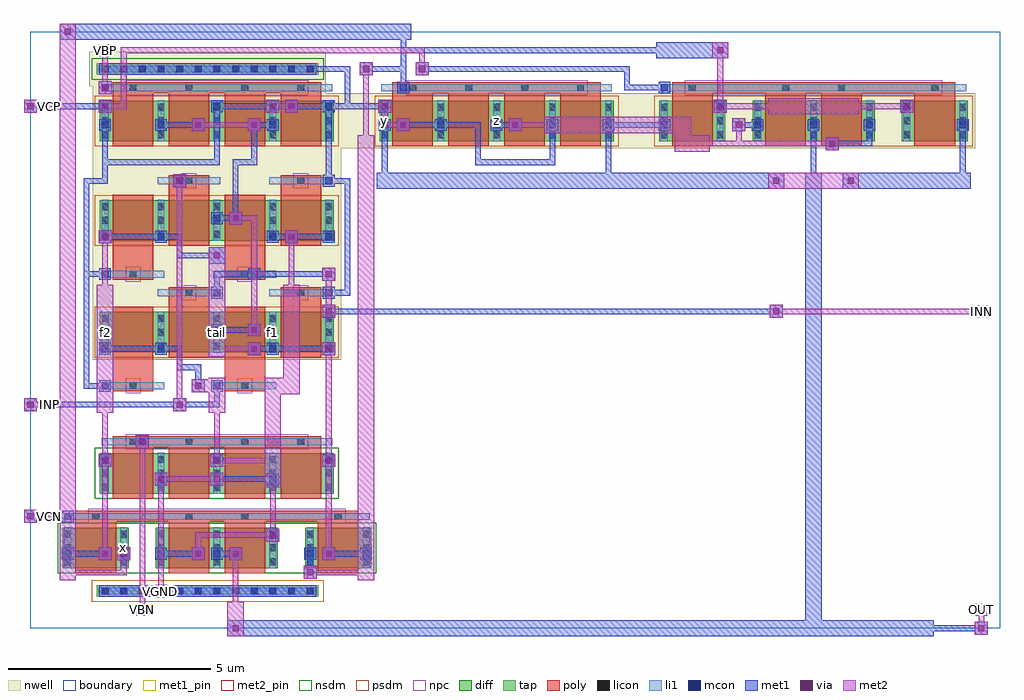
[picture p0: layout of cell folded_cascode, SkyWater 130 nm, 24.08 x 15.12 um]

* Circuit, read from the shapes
.subckt folded_cascode INN INP OUT VBN VBP VCN VCP VGND VPWR f1 f2 tail x y z
XM1 x VCN f1 VGND sky130_fd_pr__nfet_01v8 w=1 l=1 m=2
XM2 VGND VBN f1 VGND sky130_fd_pr__nfet_01v8 w=1 l=1 m=2
XM3 OUT VCN f2 VGND sky130_fd_pr__nfet_01v8 w=1 l=1 m=2
XM4 f2 VBN VGND VGND sky130_fd_pr__nfet_01v8 w=1 l=1 m=2
XM5 f2 VPWR f2 VPWR sky130_fd_pr__pfet_01v8 w=1 l=1 m=2
XM6 f1 VPWR f1 VPWR sky130_fd_pr__pfet_01v8 w=1 l=1 m=2
XM7 tail VBP VPWR VPWR sky130_fd_pr__pfet_01v8 w=1 l=1 m=4
XM8 tail INN f2 VPWR sky130_fd_pr__pfet_01v8 w=1 l=1 m=2
XM9 tail INP f1 VPWR sky130_fd_pr__pfet_01v8 w=1 l=1 m=2
XM10 VPWR x y VPWR sky130_fd_pr__pfet_01v8 w=1 l=1 m=2
XM11 z x VPWR VPWR sky130_fd_pr__pfet_01v8 w=1 l=1 m=2
XM12 x VCP y VPWR sky130_fd_pr__pfet_01v8 w=1 l=1 m=2
XM13 OUT VCP z VPWR sky130_fd_pr__pfet_01v8 w=1 l=1 m=2
.ends

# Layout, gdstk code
import gdstk
lib = gdstk.Library(unit=1e-6, precision=1e-09)
def R(c, l, rs):  # rectangles x0, y0, x1, y1
    for r in rs: c.add(gdstk.rectangle(r[:2], r[2:], *l))
def A(c, l, x, y, w, h, nx, ny, dx, dy):  # array of equal rectangles
    R(c, l, [(x+i*dx, y+j*dy, x+i*dx+w, y+j*dy+h) for i in range(nx) for j in range(ny)])
nwell = (64, 20)
diff = (65, 20)
tap = (65, 44)
poly = (66, 20)
licon = (66, 44)
li1 = (67, 20)
mcon = (67, 44)
met1_pin = (68, 16)
met1 = (68, 20)
via = (68, 44)
met2_pin = (69, 16)
met2 = (69, 20)
nsdm = (93, 44)
psdm = (94, 20)
npc = (95, 20)
boundary = (235, 4)

folded_cascode = lib.new_cell('folded_cascode')
R(folded_cascode, nwell, [(1.535,6.625,7.665,11.84), (1.535,11.84,23.305,13.2), (1.535,13.2,7.285,13.38), (1.455,13.38,7.285,14.22)])
R(folded_cascode, diff, [(0.795,1.485,2.425,2.485), (3.095,1.485,6.105,2.485), (6.775,1.485,8.405,2.485), (1.715,3.325,7.485,4.325), (1.715,6.805,7.485,7.805), (1.715,9.565,7.485,10.565), (1.715,12.02,7.485,13.02), (8.615,12.02,14.385,13.02), (15.515,12.02,17.145,13.02), (17.815,12.02,20.825,13.02), (21.495,12.02,23.125,13.02)])
R(folded_cascode, tap, [(1.635,0.775,7.105,1.065), (1.635,13.655,7.105,13.945)])
A(folded_cascode, poly, 2.03, 3.195, 1, 1.405, 4, 1, 1.38, 0)
A(folded_cascode, poly, 2.03, 11.89, 1, 1.45, 4, 1, 1.38, 0)
A(folded_cascode, poly, 8.93, 11.89, 1, 1.45, 4, 1, 1.38, 0)
R(folded_cascode, poly, [(1.11,1.355,2.11,2.76), (3.41,1.355,4.41,2.76), (4.79,1.355,5.79,2.76), (7.09,1.355,8.09,2.76), (1.11,2.625,8.09,2.895), (2.03,4.465,7.17,4.735), (2.03,5.845,3.03,6.115), (4.79,5.845,5.79,6.115), (2.03,5.98,3.03,7.935), (4.79,5.98,5.79,7.935), (3.41,6.675,4.41,8.28), (6.17,6.675,7.17,8.28), (3.41,8.145,4.41,8.415), (6.17,8.145,7.17,8.415), (2.03,8.605,3.03,8.875), (4.79,8.605,5.79,8.875), (2.03,8.74,3.03,10.695), (4.79,8.74,5.79,10.695), (3.41,9.435,4.41,11.04), (6.17,9.435,7.17,11.04), (3.41,10.905,4.41,11.175), (6.17,10.905,7.17,11.175), (15.83,11.89,16.83,13.34), (18.13,11.89,19.13,13.34), (19.51,11.89,20.51,13.34), (21.81,11.89,22.81,13.34), (2.03,13.205,7.17,13.475), (8.93,13.205,14.07,13.475), (15.83,13.205,22.81,13.475)])
A(folded_cascode, licon, 1.755, 0.835, 0.17, 0.17, 12, 2, 0.46, 12.88)
A(folded_cascode, licon, 0.835, 1.56, 0.17, 0.17, 1, 3, 0, 0.34)
A(folded_cascode, licon, 2.215, 1.56, 0.17, 0.17, 1, 3, 0, 0.34)
A(folded_cascode, licon, 3.135, 1.56, 0.17, 0.17, 3, 3, 1.38, 0.34)
A(folded_cascode, licon, 6.815, 1.56, 0.17, 0.17, 1, 3, 0, 0.34)
A(folded_cascode, licon, 8.195, 1.56, 0.17, 0.17, 1, 3, 0, 0.34)
A(folded_cascode, licon, 1.755, 3.4, 0.17, 0.17, 5, 3, 1.38, 0.34)
A(folded_cascode, licon, 2.445, 4.515, 0.17, 0.17, 4, 2, 1.38, 8.74)
A(folded_cascode, licon, 1.755, 6.88, 0.17, 0.17, 5, 3, 1.38, 0.34)
A(folded_cascode, licon, 1.755, 9.64, 0.17, 0.17, 5, 3, 1.38, 0.34)
A(folded_cascode, licon, 1.755, 12.095, 0.17, 0.17, 12, 3, 1.38, 0.34)
A(folded_cascode, licon, 17.855, 12.095, 0.17, 0.17, 3, 3, 1.38, 0.34)
A(folded_cascode, licon, 21.535, 12.095, 0.17, 0.17, 1, 3, 0, 0.34)
A(folded_cascode, licon, 22.915, 12.095, 0.17, 0.17, 1, 3, 0, 0.34)
A(folded_cascode, licon, 9.345, 13.255, 0.17, 0.17, 4, 1, 1.38, 0)
R(folded_cascode, licon, [(1.525,2.675,1.695,2.845), (3.825,2.675,3.995,2.845), (5.205,2.675,5.375,2.845), (7.505,2.675,7.675,2.845), (2.445,5.895,2.615,6.065), (5.205,5.895,5.375,6.065), (3.825,8.195,3.995,8.365), (6.585,8.195,6.755,8.365), (2.445,8.655,2.615,8.825), (5.205,8.655,5.375,8.825), (3.825,10.955,3.995,11.125), (6.585,10.955,6.755,11.125), (16.245,13.255,16.415,13.425), (18.545,13.255,18.715,13.425), (19.925,13.255,20.095,13.425), (22.225,13.255,22.395,13.425)])
A(folded_cascode, li1, 3.135, 1.48, 0.17, 1.01, 3, 1, 1.38, 0)
A(folded_cascode, li1, 1.755, 3.32, 0.17, 1.01, 5, 2, 1.38, 3.48)
A(folded_cascode, li1, 1.755, 9.56, 0.17, 1.01, 5, 1, 1.38, 0)
A(folded_cascode, li1, 1.755, 12.015, 0.17, 1.01, 12, 1, 1.38, 0)
A(folded_cascode, li1, 17.855, 12.015, 0.17, 1.01, 3, 1, 1.38, 0)
R(folded_cascode, li1, [(1.675,0.835,7.065,1.005), (0.835,1.48,1.005,2.49), (2.215,1.48,2.385,2.49), (6.815,1.48,6.985,2.49), (8.195,1.48,8.365,2.49), (0.835,2.675,8.365,2.845), (1.755,4.515,7.445,4.685), (1.755,5.895,3.305,6.065), (4.515,5.895,6.065,6.065), (3.135,8.195,4.685,8.365), (5.895,8.195,7.445,8.365), (1.755,8.655,3.305,8.825), (4.515,8.655,6.065,8.825), (3.135,10.955,4.685,11.125), (5.895,10.955,7.445,11.125), (21.535,12.015,21.705,13.025), (22.915,12.015,23.085,13.025), (1.755,13.255,7.445,13.425), (8.655,13.255,14.345,13.425), (15.555,13.255,23.085,13.425), (1.675,13.715,7.065,13.885)])
A(folded_cascode, mcon, 1.755, 0.835, 0.17, 0.17, 12, 2, 0.46, 12.88)
A(folded_cascode, mcon, 1.755, 4.055, 0.17, 0.17, 3, 1, 2.76, 0)
A(folded_cascode, mcon, 7.275, 6.815, 0.17, 0.17, 1, 4, 0, 1.38)
A(folded_cascode, mcon, 3.135, 12.335, 0.17, 0.17, 3, 1, 2.76, 0)
A(folded_cascode, mcon, 10.035, 12.335, 0.17, 0.17, 5, 1, 1.38, 0)
A(folded_cascode, mcon, 17.855, 12.335, 0.17, 0.17, 3, 1, 1.38, 0)
R(folded_cascode, mcon, [(0.835,1.755,1.005,1.925), (2.215,1.755,2.385,1.925), (3.135,1.755,3.305,1.925), (4.515,1.755,4.685,1.925), (6.815,1.755,6.985,1.925), (8.195,1.755,8.365,1.925), (5.895,2.215,6.065,2.385), (0.835,2.675,1.005,2.845), (3.135,3.595,3.305,3.765), (5.895,3.595,6.065,3.765), (2.675,4.515,2.845,4.685), (1.755,5.895,1.925,6.065), (4.515,5.895,4.685,6.065), (1.755,6.815,1.925,6.985), (3.135,6.815,3.305,6.985), (5.895,6.815,6.065,6.985), (4.515,7.275,4.685,7.445), (4.515,8.195,4.685,8.365), (1.755,8.655,1.925,8.825), (5.435,8.655,5.605,8.825), (1.755,9.575,1.925,9.745), (3.135,9.575,3.305,9.745), (5.895,9.575,6.065,9.745), (4.515,10.035,4.685,10.205), (3.595,10.955,3.765,11.125), (1.755,12.335,1.925,12.505), (22.915,12.335,23.085,12.505), (4.515,12.795,4.685,12.965), (7.275,12.795,7.445,12.965), (16.935,12.795,17.105,12.965), (21.535,12.795,21.705,12.965), (1.755,13.255,1.925,13.425), (9.115,13.255,9.285,13.425), (15.555,13.255,15.725,13.425)])
R(folded_cascode, met1_pin, [(3.15,0.85,3.29,0.99), (1.31,5.91,1.45,8.81)])
A(folded_cascode, met1, 1.68, 3.98, 0.32, 0.32, 3, 1, 2.76, 0)
A(folded_cascode, met1, 1.695, 3.995, 0.29, 0.29, 3, 1, 2.76, 0)
A(folded_cascode, met1, 7.2, 6.74, 0.32, 0.32, 1, 3, 0, 0.92)
A(folded_cascode, met1, 7.215, 6.755, 0.29, 0.29, 1, 4, 0, 1.38)
A(folded_cascode, met1, 3.075, 12.275, 0.29, 0.29, 3, 1, 2.76, 0)
A(folded_cascode, met1, 9.975, 12.275, 0.29, 0.29, 5, 1, 1.38, 0)
A(folded_cascode, met1, 17.795, 12.275, 0.29, 0.29, 3, 1, 1.38, 0)
A(folded_cascode, met1, 5.45, 12.35, 0.6, 0.14, 3, 1, 5.98, 0)
R(folded_cascode, met1, [(4.86,-0.2,22.28,0.2), (4.86,-0.2,5.26,0.2), (19.12,-0.2,19.52,11.24), (23.3,-0.16,23.62,0.16), (22.01,-0.07,23.53,0.07), (3.06,0.76,3.38,1.08), (1.695,0.775,7.045,1.065), (3.15,0.85,3.29,0.99), (6.74,1.22,7.06,1.54), (6.83,1.31,6.97,1.91), (1.68,1.68,2,2), (2.14,1.68,2.46,2), (3.98,1.68,4.3,2), (4.9,1.68,5.22,2), (7.2,1.68,7.52,2), (0.775,1.695,1.065,1.985), (2.155,1.695,2.445,1.985), (3.075,1.695,3.365,1.985), (4.455,1.695,4.745,1.985), (6.755,1.695,7.045,1.985), (8.135,1.695,8.425,1.985), (0.85,1.77,1.91,1.91), (3.15,1.77,4.21,1.91), (4.53,1.77,5.13,1.91), (7.29,1.77,8.35,1.91), (5.82,2.14,6.14,2.46), (5.835,2.155,6.125,2.445), (-0.16,2.6,0.16,2.92), (0.775,2.615,1.065,2.905), (-0.07,2.69,0.99,2.83), (3.06,3.52,3.38,3.84), (4.44,3.52,4.76,3.84), (3.075,3.535,3.365,3.825), (5.835,3.535,6.125,3.825), (4.53,3.61,6.05,3.75), (2.6,4.44,2.92,4.76), (2.615,4.455,2.905,4.745), (-0.16,5.36,0.16,5.68), (3.52,5.36,3.84,5.68), (-0.07,5.45,4.67,5.59), (4.53,5.45,4.67,6.05), (3.98,5.82,4.3,6.14), (1.695,5.835,1.985,6.125), (4.455,5.835,4.745,6.125), (1.31,5.91,1.91,6.05), (1.31,5.91,1.45,8.81), (4.07,5.91,4.21,6.51), (3.61,6.37,4.21,6.51), (3.61,6.37,3.75,6.97), (5.36,6.74,5.68,7.06), (1.695,6.755,1.985,7.045), (3.075,6.755,3.365,7.045), (5.835,6.755,6.125,7.045), (1.77,6.83,3.29,6.97), (3.15,6.83,3.75,6.97), (5.45,6.83,6.05,6.97), (5.91,6.83,7.43,6.97), (5.36,7.2,5.68,7.52), (4.455,7.215,4.745,7.505), (4.53,7.29,5.59,7.43), (18.24,7.66,18.56,7.98), (7.29,7.75,18.47,7.89), (4.455,8.135,4.745,8.425), (4.53,8.21,4.67,8.81), (7.29,8.21,7.89,8.35), (7.75,8.21,7.89,11.11), (1.695,8.595,1.985,8.885), (5.375,8.595,5.665,8.885), (1.31,8.67,1.91,8.81), (1.31,8.67,1.45,11.11), (4.53,8.67,5.59,8.81), (5.45,8.67,7.43,8.81), (4.4,9,4.8,9.4), (3.61,9.13,4.67,9.27), (3.61,9.13,3.75,9.73), (1.68,9.5,2,9.82), (6.28,9.5,6.6,9.82), (1.695,9.515,1.985,9.805), (3.075,9.515,3.365,9.805), (5.835,9.515,6.125,9.805), (1.77,9.59,3.29,9.73), (3.15,9.59,3.75,9.73), (5.91,9.59,6.51,9.73), (6.37,9.59,7.43,9.73), (4.9,9.96,5.22,10.28), (4.455,9.975,4.745,10.265), (4.53,10.05,5.13,10.19), (4.99,10.05,5.13,11.57), (8.54,10.84,14.46,11.24), (14.06,10.84,18.6,11.24), (18.2,10.84,18.6,11.24), (20.04,10.84,20.44,11.24), (20.04,10.84,23.2,11.24), (3.52,10.88,3.84,11.2), (3.535,10.895,3.825,11.185), (1.31,10.97,1.91,11.11), (1.77,10.97,1.91,11.57), (7.29,10.97,7.89,11.11), (7.29,10.97,7.43,12.95), (8.67,10.97,8.81,12.49), (14.19,10.97,14.33,12.49), (19.25,10.97,19.39,12.49), (22.93,10.97,23.07,12.49), (1.77,11.43,1.91,12.49), (1.77,11.43,4.67,11.57), (4.53,11.43,4.67,12.95), (4.99,11.43,5.59,11.57), (5.45,11.43,5.59,12.49), (10.97,11.43,12.95,11.57), (10.97,11.43,11.11,12.49), (12.81,11.43,12.95,12.49), (19.62,11.8,19.94,12.12), (19.71,11.89,20.77,12.03), (20.63,11.89,20.77,12.49), (3.98,12.26,4.3,12.58), (5.36,12.26,5.68,12.58), (9.04,12.26,9.36,12.58), (11.8,12.26,12.12,12.58), (17.32,12.26,17.64,12.58), (1.695,12.275,1.985,12.565), (22.855,12.275,23.145,12.565), (3.15,12.35,4.21,12.49), (9.13,12.35,10.19,12.49), (10.05,12.35,11.11,12.49), (14.19,12.35,15.71,12.49), (-0.16,12.72,0.16,13.04), (1.68,12.72,2,13.04), (5.82,12.72,6.14,13.04), (6.28,12.72,6.6,13.04), (8.58,12.72,8.9,13.04), (16.86,12.72,17.18,13.04), (21.46,12.72,21.78,13.04), (4.455,12.735,4.745,13.025), (7.215,12.735,7.505,13.025), (16.875,12.735,17.165,13.025), (21.475,12.735,21.765,13.025), (-0.07,12.81,1.91,12.95), (4.53,12.81,6.05,12.95), (6.37,12.81,7.43,12.95), (7.29,12.81,8.81,12.95), (7.75,12.81,7.89,13.87), (1.68,13.18,2,13.5), (1.695,13.195,1.985,13.485), (9.055,13.195,9.345,13.485), (15.495,13.195,15.785,13.485), (9.13,13.27,9.27,14.79), (14.65,13.27,15.71,13.41), (14.65,13.27,14.79,13.87), (8.12,13.64,8.44,13.96), (9.5,13.64,9.82,13.96), (1.695,13.655,7.045,13.945), (6.83,13.73,7.89,13.87), (6.83,13.73,6.97,13.87), (8.21,13.73,9.27,13.87), (9.59,13.73,14.79,13.87), (15.44,14.06,17.22,14.46), (16.82,14.06,17.22,14.46), (9.13,14.19,15.71,14.33), (0.72,14.52,1.12,14.92), (0.72,14.52,9.4,14.92)])
A(folded_cascode, via, 1.765, 4.065, 0.15, 0.15, 3, 1, 2.76, 0)
A(folded_cascode, via, 7.285, 6.825, 0.15, 0.15, 1, 3, 0, 0.92)
R(folded_cascode, via, [(4.985,-0.075,5.135,0.075), (23.385,-0.075,23.535,0.075), (3.145,0.845,3.295,0.995), (6.825,1.305,6.975,1.455), (1.765,1.765,1.915,1.915), (2.225,1.765,2.375,1.915), (4.065,1.765,4.215,1.915), (4.985,1.765,5.135,1.915), (7.285,1.765,7.435,1.915), (5.905,2.225,6.055,2.375), (-0.075,2.685,0.075,2.835), (3.145,3.605,3.295,3.755), (4.525,3.605,4.675,3.755), (2.685,4.525,2.835,4.675), (-0.075,5.445,0.075,5.595), (3.605,5.445,3.755,5.595), (4.065,5.905,4.215,6.055), (5.445,6.825,5.595,6.975), (5.445,7.285,5.595,7.435), (18.325,7.745,18.475,7.895), (4.525,9.125,4.675,9.275), (1.765,9.585,1.915,9.735), (6.365,9.585,6.515,9.735), (4.985,10.045,5.135,10.195), (3.605,10.965,3.755,11.115), (18.325,10.965,18.475,11.115), (20.165,10.965,20.315,11.115), (19.705,11.885,19.855,12.035), (4.065,12.345,4.215,12.495), (5.445,12.345,5.595,12.495), (9.125,12.345,9.275,12.495), (11.885,12.345,12.035,12.495), (17.405,12.345,17.555,12.495), (-0.075,12.805,0.075,12.955), (1.765,12.805,1.915,12.955), (5.905,12.805,6.055,12.955), (6.365,12.805,6.515,12.955), (8.665,12.805,8.815,12.955), (16.945,12.805,17.095,12.955), (21.545,12.805,21.695,12.955), (1.765,13.265,1.915,13.415), (8.205,13.725,8.355,13.875), (9.585,13.725,9.735,13.875), (16.945,14.185,17.095,14.335), (0.845,14.645,0.995,14.795)])
R(folded_cascode, met2_pin, [(2.61,0.31,2.91,0.61), (23.31,0.31,23.61,0.61), (0.39,2.69,0.53,2.83), (0.39,5.45,0.53,5.59), (23.31,7.67,23.61,7.97), (0.39,12.81,0.53,12.95), (1.69,14.11,1.99,14.41)])
A(folded_cascode, met2, 1.68, 3.98, 0.32, 0.32, 3, 1, 2.76, 0)
A(folded_cascode, met2, 7.2, 6.74, 0.32, 0.32, 1, 3, 0, 0.92)
R(folded_cascode, met2, [(4.86,-0.2,5.26,0.2), (4.86,-0.2,5.26,0.66), (23.3,-0.16,23.62,0.16), (23.39,-0.07,23.53,0.53), (2.61,0.31,2.91,0.61), (23.31,0.31,23.61,0.61), (2.69,0.39,2.83,0.53), (2.69,0.39,2.83,4.67), (4.99,0.39,5.13,1.91), (23.39,0.39,23.53,0.53), (3.06,0.76,3.38,1.08), (3.15,0.85,3.29,3.75), (0.72,1.18,1.12,14.92), (8.08,1.18,8.48,12.16), (6.74,1.22,7.06,1.54), (0.85,1.31,2.37,1.45), (2.23,1.31,2.37,1.91), (6.83,1.31,8.35,1.45), (1.68,1.68,2,2), (2.14,1.68,2.46,2), (3.98,1.68,4.3,2), (4.9,1.68,5.22,2), (7.2,1.68,7.52,2), (1.77,1.77,1.91,4.21), (4.07,1.77,4.21,2.37), (7.29,1.77,7.43,4.21), (5.82,2.14,6.14,2.46), (4.07,2.23,6.05,2.37), (5.91,2.23,6.05,3.75), (-0.16,2.6,0.16,2.92), (-0.07,2.69,0.53,2.83), (0.39,2.69,0.53,2.83), (5.78,3.48,6.18,4.34), (3.06,3.52,3.38,3.84), (4.44,3.52,4.76,3.84), (3.15,3.61,4.67,3.75), (5.78,3.94,6.18,6.18), (1.77,4.07,1.91,5.59), (4.53,4.07,6.05,4.21), (4.53,4.07,4.67,5.59), (7.29,4.07,7.43,6.97), (2.6,4.44,2.92,4.76), (1.64,5.32,2.04,8.48), (4.4,5.32,4.8,6.18), (-0.16,5.36,0.16,5.68), (3.52,5.36,3.84,5.68), (-0.07,5.45,0.53,5.59), (0.39,5.45,0.53,5.59), (3.61,5.45,3.75,11.11), (5.78,5.78,6.64,6.18), (6.24,5.78,6.64,8.48), (3.98,5.82,4.3,6.14), (4.3,5.82,4.4,6.14), (4.07,5.91,4.67,6.05), (4.4,6.7,4.8,9.4), (5.36,6.74,5.68,7.06), (4.53,6.83,5.59,6.97), (5.36,7.2,5.68,7.52), (5.45,7.29,5.59,10.19), (18.24,7.66,18.56,7.98), (23.31,7.67,23.61,7.97), (7.29,7.75,7.43,8.81), (18.33,7.75,23.53,7.89), (23.39,7.75,23.53,7.89), (1.77,8.21,1.91,9.73), (6.37,8.21,6.51,9.73), (4.4,9,4.8,9.4), (1.68,9.5,2,9.82), (6.28,9.5,6.6,9.82), (4.9,9.96,5.22,10.28), (4.99,10.05,5.59,10.19), (18.2,10.84,20.44,11.24), (18.2,10.84,18.6,11.24), (20.04,10.84,20.44,11.24), (3.52,10.88,3.84,11.2), (15.9,11.76,16.3,12.62), (15.9,11.76,16.76,12.16), (19.62,11.8,19.94,12.12), (8.21,11.89,8.35,13.87), (16.49,11.89,17.55,12.03), (17.41,11.89,17.55,12.49), (17.41,11.89,19.85,12.03), (12.68,12.22,16.3,12.62), (3.98,12.26,4.3,12.58), (5.36,12.26,5.68,12.58), (9.04,12.26,9.36,12.58), (11.8,12.26,12.12,12.58), (17.32,12.26,17.64,12.58), (4.07,12.35,5.59,12.49), (8.67,12.35,8.81,12.95), (8.67,12.35,9.27,12.49), (11.89,12.35,12.95,12.49), (18.2,12.68,20.44,13.08), (-0.16,12.72,0.16,13.04), (1.68,12.72,2,13.04), (5.82,12.72,6.14,13.04), (6.28,12.72,6.6,13.04), (8.58,12.72,8.9,13.04), (16.86,12.72,17.18,13.04), (21.46,12.72,21.78,13.04), (-0.07,12.81,0.53,12.95), (0.39,12.81,0.53,12.95), (1.77,12.81,2.37,12.95), (2.23,12.81,2.37,14.33), (5.91,12.81,6.51,12.95), (16.95,12.81,18.47,12.95), (16.95,12.81,17.09,14.33), (20.17,12.81,21.69,12.95), (1.68,13.18,2,13.5), (1.77,13.27,1.91,14.33), (8.12,13.64,8.44,13.96), (9.5,13.64,9.82,13.96), (9.59,13.73,9.73,14.33), (16.82,14.06,17.22,14.46), (1.69,14.11,1.99,14.41), (1.77,14.19,1.91,14.33), (2.23,14.19,9.73,14.33), (0.72,14.52,1.12,14.92)])
R(folded_cascode, nsdm, [(0.67,1.36,8.53,2.61), (1.59,3.2,7.61,4.45), (1.51,13.53,7.23,14.07)])
R(folded_cascode, psdm, [(1.51,0.65,7.23,1.19), (1.59,6.68,7.61,7.93), (1.59,9.44,7.61,10.69), (1.59,11.895,7.61,13.145), (8.49,11.895,14.51,13.145), (15.39,11.895,23.25,13.145)])
R(folded_cascode, npc, [(1.425,2.575,7.775,2.945), (2.345,4.415,6.855,4.785), (2.345,5.795,2.715,6.165), (5.105,5.795,5.475,6.165), (3.725,8.095,4.095,8.465), (6.485,8.095,6.855,8.465), (2.345,8.555,2.715,8.925), (5.105,8.555,5.475,8.925), (3.725,10.855,4.095,11.225), (6.485,10.855,6.855,11.225), (2.345,13.155,6.855,13.525), (9.245,13.155,13.755,13.525), (16.145,13.155,22.495,13.525)])
R(folded_cascode, boundary, [(0,0,23.92,14.72)])
folded_cascode.add(gdstk.Label('f2', (1.84,7.305), layer=67, texttype=5))
folded_cascode.add(gdstk.Label('tail', (4.6,7.305), layer=67, texttype=5))
folded_cascode.add(gdstk.Label('f1', (5.98,7.305), layer=67, texttype=5))
folded_cascode.add(gdstk.Label('x', (2.3,1.985), layer=67, texttype=5))
folded_cascode.add(gdstk.Label('y', (8.74,12.52), layer=67, texttype=5))
folded_cascode.add(gdstk.Label('z', (11.5,12.52), layer=67, texttype=5))
folded_cascode.add(gdstk.Label('VPWR', (1.38,7.36), layer=68, texttype=5))
folded_cascode.add(gdstk.Label('VGND', (3.22,0.92), layer=68, texttype=5))
folded_cascode.add(gdstk.Label('INP', (0.46,5.52), layer=69, texttype=5))
folded_cascode.add(gdstk.Label('INN', (23.46,7.82), layer=69, texttype=5))
folded_cascode.add(gdstk.Label('VBP', (1.84,14.26), layer=69, texttype=5))
folded_cascode.add(gdstk.Label('VBN', (2.76,0.46), layer=69, texttype=5))
folded_cascode.add(gdstk.Label('VCN', (0.46,2.76), layer=69, texttype=5))
folded_cascode.add(gdstk.Label('VCP', (0.46,12.88), layer=69, texttype=5))
folded_cascode.add(gdstk.Label('OUT', (23.46,0.46), layer=69, texttype=5))
folded_cascode.add(gdstk.Label('VPWR', (1.38,7.36), layer=68, texttype=16))
folded_cascode.add(gdstk.Label('VGND', (3.22,0.92), layer=68, texttype=16))
folded_cascode.add(gdstk.Label('INP', (0.46,5.52), layer=69, texttype=16))
folded_cascode.add(gdstk.Label('INN', (23.46,7.82), layer=69, texttype=16))
folded_cascode.add(gdstk.Label('VBP', (1.84,14.26), layer=69, texttype=16))
folded_cascode.add(gdstk.Label('VBN', (2.76,0.46), layer=69, texttype=16))
folded_cascode.add(gdstk.Label('VCN', (0.46,2.76), layer=69, texttype=16))
folded_cascode.add(gdstk.Label('VCP', (0.46,12.88), layer=69, texttype=16))
folded_cascode.add(gdstk.Label('OUT', (23.46,0.46), layer=69, texttype=16))

lib.write_gds('folded_cascode.gds')
